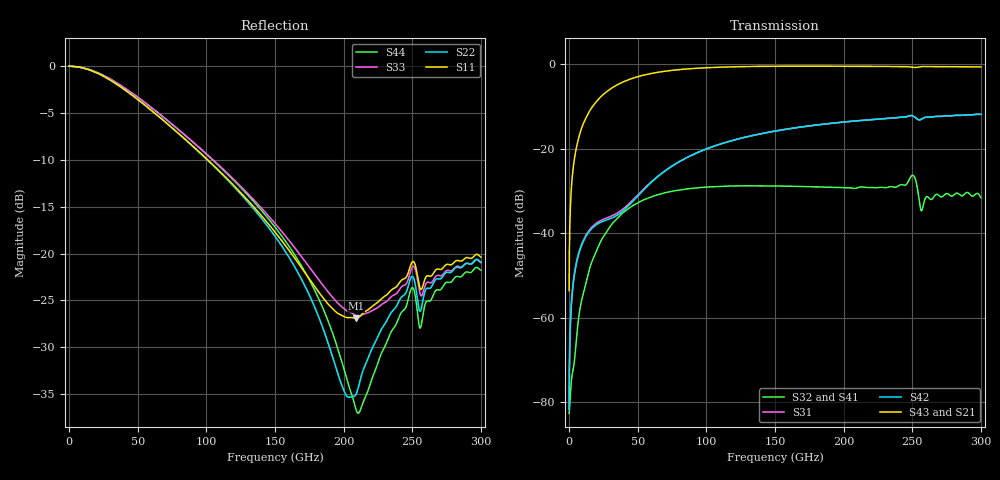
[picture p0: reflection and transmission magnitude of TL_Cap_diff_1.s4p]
! Created with skrf (http://scikit-rf.org).
# Hz S RI R 50.0
!freq ReS11 ImS11 ReS12 ImS12 ReS13 ImS13
! ReS14 ImS14
! ReS21 ImS21 ReS22 ImS22 ReS23 ImS23
! ReS24 ImS24
! ReS31 ImS31 ReS32 ImS32 ReS33 ImS33
! ReS34 ImS34
! ReS41 ImS41 ReS42 ImS42 ReS43 ImS43
! ReS44 ImS44
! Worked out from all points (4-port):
!   3000 points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, 100 MHz to 300 GHz, reference 50 ohm
!   strongest paths, dB at 100 MHz, 75.1 GHz, 150.1 GHz, 225.1 GHz, 300 GHz:
!     S43: -53.6, -1.4, -0.5, -0.5, -0.6
!     S21: -53.2, -1.3, -0.4, -0.5, -0.6
!     S42: -81.7, -24.1, -15.8, -13.0, -11.8
!     S31: -81.4, -24.1, -15.8, -13.0, -11.8
!     S32: -82.7, -30.1, -28.8, -29.2, -31.6
!     S41: -82.8, -30.0, -28.8, -29.2, -31.6
!   lowest |S11| = -26.9 dB at 209 GHz (marker M1), VSWR 1.09, Z = 53.8 - j2.68 ohm
!   |S11| at or under -10 dB: 101.1 GHz to end of sweep
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1e8  1.001 -0.0024  -0.000664 0.00208  3.83e-06 8.46e-05  -7.2e-05 1.18e-05
     -0.000664 0.00208  1.001 -0.00247  -7.37e-05 1.15e-05  5.33e-06 8.21e-05
     3.88e-06 8.46e-05  -7.25e-05 1.15e-05  1.001 -0.0023  -0.000635 0.00198
     -7.19e-05 1.18e-05  6.3e-06 8.21e-05  -0.000634 0.00198  1.001 -0.00237
2.9e9  0.9953 -0.0677  0.00455 0.0587  0.000138 0.00244  -7.54e-05 0.000234
       0.00455 0.0587  0.9951 -0.0696  -7.69e-05 0.000225  0.000134 0.00237
       0.000136 0.00244  -7.43e-05 0.000225  0.9956 -0.0651  0.00419 0.0559
       -7.53e-05 0.000233  0.000133 0.00237  0.00419 0.0559  0.9955 -0.0669
9.1e9  0.9611 -0.2059  0.0389 0.1776  0.00126 0.00721  -0.00105 0.0012
       0.0389 0.1776  0.9598 -0.2116  -0.00106 0.00117  0.00126 0.00699
       0.00125 0.00721  -0.00105 0.00117  0.9642 -0.1983  0.0358 0.1698
       -0.00105 0.00119  0.00125 0.007  0.0357 0.1698  0.963 -0.204
4.42e10  0.4526 -0.5565  0.5441 0.4124  -0.00318 0.0224  0.00961 0.0177
         0.5441 0.4126  0.4351 -0.5698  0.00945 0.0177  -0.00393 0.0213
         -0.0033 0.0225  0.00959 0.0175  0.477 -0.5589  0.5195 0.4145
         0.00964 0.0177  -0.00405 0.0214  0.5195 0.4146  0.4597 -0.5727
1.564e11  -0.00363 -0.1135  0.8604 -0.4067  0.0701 0.1522  0.00265 -0.0356
          0.8605 -0.4066  -0.0304 -0.1014  0.00272 -0.0349  0.0695 0.1529
          0.0701 0.153  0.0022 -0.036  -0.00719 -0.1273  0.864 -0.3952
          0.00249 -0.0358  0.0695 0.1537  0.8641 -0.3952  -0.0364 -0.1145
2.09e11  0.0377 -0.0248  0.6906 -0.647  0.1466 0.1543  -0.0226 -0.0246
         0.6906 -0.6467  0.0168 -0.00565  -0.0221 -0.0237  0.1471 0.1543
         0.1467 0.1553  -0.0232 -0.0248  0.0317 -0.0341  0.696 -0.6415
         -0.023 -0.0248  0.1472 0.1554  0.696 -0.6413  0.0079 -0.0125
3e11  0.0958 -0.00161  0.3259 -0.8722  0.2397 0.089  -0.0219 0.0136
      0.3262 -0.8717  0.0873 0.0226  -0.0203 0.0142  0.2402 0.0865
      0.2398 0.0903  -0.0225 0.0135  0.0891 -0.00746  0.3292 -0.8724
      -0.0225 0.0136  0.2404 0.0879  0.3295 -0.8719  0.0783 0.0228
